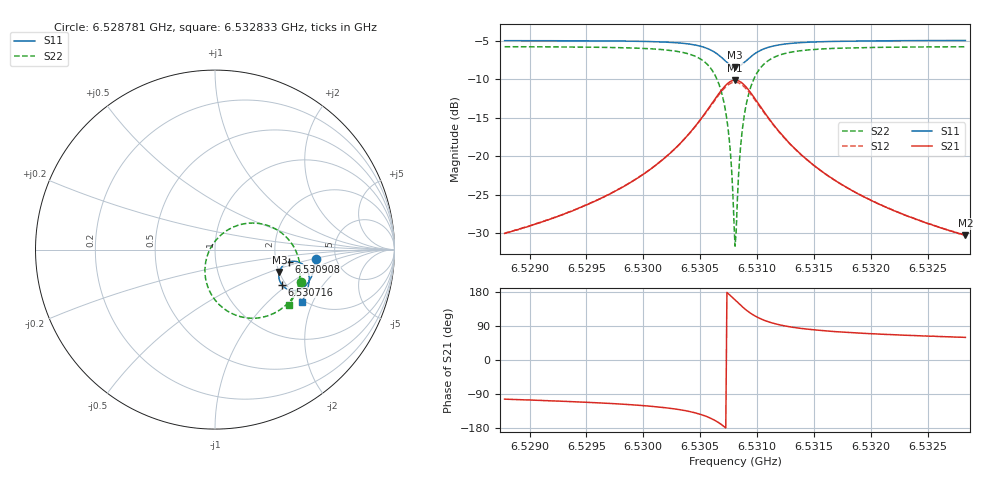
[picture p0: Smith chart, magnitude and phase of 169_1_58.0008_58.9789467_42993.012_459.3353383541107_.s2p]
#  HZ  S  RI  R  50.00
! Rohde & Schwarz Vector Network Analyzer
! Rohde-Schwarz,ZNB20-2Port,1311601062101988,3.16
! Created: UTC 3/21/2024, 12:57:51 AM
! freq[Hz]  re:S11  im:S11  re:S21  im:S21  re:S12  im:S12  re:S22  im:S22
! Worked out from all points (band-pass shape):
!   401 points, 6.528781 GHz to 6.532833 GHz, reference 50 ohm
!   highest |S21| = -10.11 dB at 6.530807 GHz (marker M1); lowest = -30.2 dB at 6.532833 GHz (marker M2)
!   |S21| within 3 dB of the highest: 6.530606 GHz to 6.53101 GHz (404.7 kHz wide, 0.0062 % of centre)
!   lowest |S11| = -8.4 dB at 6.530807 GHz (marker M3), VSWR 2.22, Z = 100 - j29.1 ohm
!   |S11| at or under -10 dB: nowhere
!   |S22| runs from -31.6 to -5.8 dB; largest |S21 - S12| = 0.013
!   S11 on the Smith chart (normalised r, x): 6.528781 GHz: 3.49, -0.52; 6.530716 GHz: 1.90, -0.90; 6.530908 GHz: 2.37, -0.39; 6.532833 GHz: 1.94, -1.66
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6.5287811e9  0.5605 -0.0511  -0.00726 -0.0308  -0.00805 -0.0307  0.4816 -0.1805
6.5294598e9  0.5512 -0.1082  -0.0168 -0.0438  -0.018 -0.0435  0.4494 -0.244
6.5298447e9  0.5401 -0.1444  -0.0295 -0.0576  -0.031 -0.0571  0.4153 -0.2889
6.5301385e9  0.5242 -0.177  -0.051 -0.0753  -0.0533 -0.0739  0.3658 -0.3328
6.5303715e9  0.4975 -0.2075  -0.0912 -0.0954  -0.0943 -0.092  0.2834 -0.3722
6.5305437e9  0.4534 -0.2275  -0.1607 -0.1021  -0.1631 -0.0952  0.1553 -0.3768
6.530645e9  0.4078 -0.2227  -0.2315 -0.0755  -0.2308 -0.0654  0.0367 -0.3185
6.5307159e9  0.3718 -0.1953  -0.2838 -0.0161  -0.2778 -0.00557  -0.04 -0.2084
6.5307564e9  0.3582 -0.1671  -0.3001 0.0378  -0.2909 0.0463  -0.0562 -0.1161
6.530797e9  0.3565 -0.1329  -0.2956 0.0993  -0.2842 0.1043  -0.0361 -0.016
6.5308071e9  0.3585 -0.1244  -0.2905 0.1145  -0.279 0.1183  -0.025 0.00765
6.5308172e9  0.3613 -0.116  -0.284 0.1291  -0.2725 0.1318  -0.0115 0.0301
6.5308274e9  0.3649 -0.1081  -0.2761 0.1428  -0.2648 0.1447  0.00393 0.0511
6.5308476e9  0.3746 -0.0938  -0.2567 0.1674  -0.2461 0.1673  0.0403 0.0875
6.5308679e9  0.3865 -0.0821  -0.234 0.1871  -0.2244 0.1856  0.0812 0.1154
6.5309084e9  0.4138 -0.0681  -0.1844 0.2107  -0.1773 0.2075  0.1676 0.1449
6.5309793e9  0.4577 -0.0672  -0.1076 0.213  -0.1039 0.2097  0.2966 0.1332
6.5310806e9  0.4962 -0.0889  -0.0417 0.1817  -0.0398 0.1798  0.4027 0.0638
6.5312326e9  0.5189 -0.1251  -0.00167 0.1344  -0.000409 0.1337  0.461 -0.0332
6.5314858e9  0.525 -0.1687  0.0156 0.0878  0.0166 0.0876  0.475 -0.1317
6.5321645e9  0.5084 -0.24  0.0177 0.0424  0.0185 0.042  0.4458 -0.2485
6.5328331e9  0.4839 -0.2911  0.0155 0.0265  0.0162 0.0262  0.411 -0.3084
